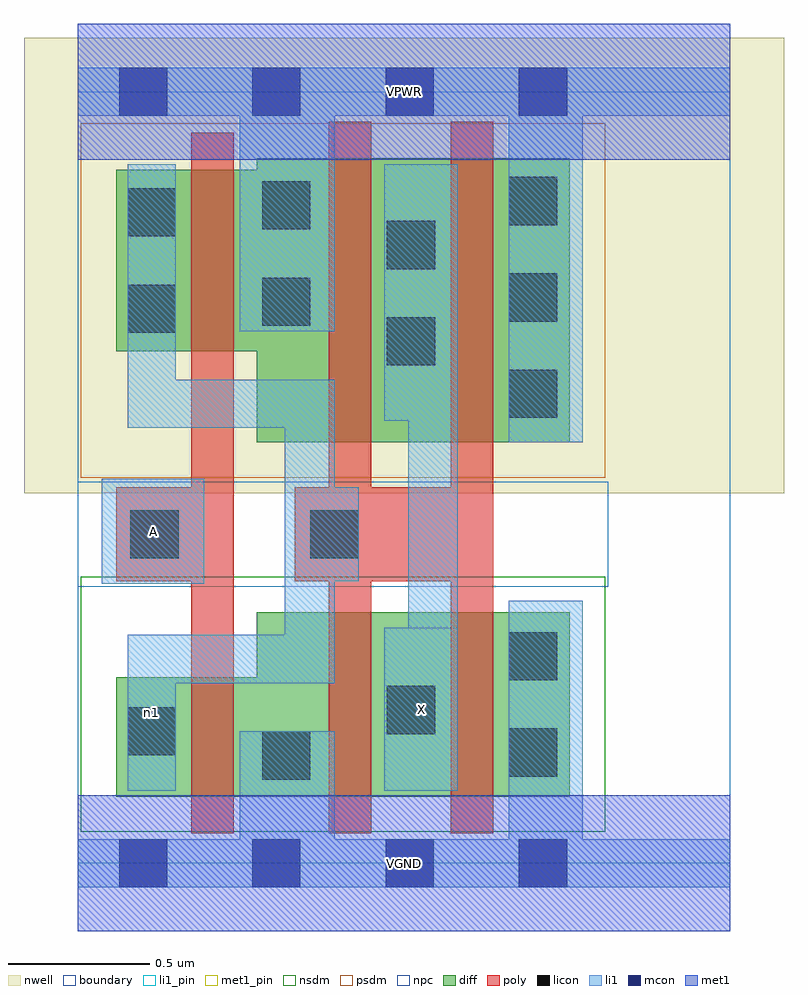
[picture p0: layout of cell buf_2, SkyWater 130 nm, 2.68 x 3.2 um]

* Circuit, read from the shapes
.subckt buf_2 A VGND VPWR X n1
XM1 VGND A n1 VSUBS sky130_fd_pr__nfet_01v8 w=0.42 l=0.15
XM2 X n1 VGND VSUBS sky130_fd_pr__nfet_01v8 w=0.65 l=0.15 m=2
XM3 VPWR A n1 n2 sky130_fd_pr__pfet_01v8 w=0.64 l=0.15
XM4 X n1 VPWR n2 sky130_fd_pr__pfet_01v8 w=1 l=0.15 m=2
.ends

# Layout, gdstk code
import gdstk
lib = gdstk.Library(unit=1e-6, precision=1e-09)
def R(c, l, rs):  # rectangles x0, y0, x1, y1
    for r in rs: c.add(gdstk.rectangle(r[:2], r[2:], *l))
def A(c, l, x, y, w, h, nx, ny, dx, dy):  # array of equal rectangles
    R(c, l, [(x+i*dx, y+j*dy, x+i*dx+w, y+j*dy+h) for i in range(nx) for j in range(ny)])
nwell = (64, 20)
diff = (65, 20)
poly = (66, 20)
licon = (66, 44)
li1_pin = (67, 16)
li1 = (67, 20)
mcon = (67, 44)
met1_pin = (68, 16)
met1 = (68, 20)
nsdm = (93, 44)
psdm = (94, 20)
npc = (95, 20)
boundary = (235, 4)

buf_2 = lib.new_cell('buf_2')
R(buf_2, nwell, [(-0.19,1.305,2.49,2.91), (0,1.305,2.3,2.91)])
R(buf_2, diff, [(0.135,0.235,1.735,0.655), (0.63,0.235,1.735,0.885), (0.63,1.485,1.735,2.485), (0.135,1.805,1.735,2.445)])
R(buf_2, poly, [(0.4,0.105,0.55,2.575), (0.885,0.105,1.035,2.615), (1.315,0.105,1.465,2.615), (0.135,0.995,0.55,1.325), (0.765,0.995,1.465,1.325)])
A(buf_2, licon, 1.52, 1.57, 0.17, 0.17, 1, 3, 0, 0.34)
R(buf_2, licon, [(0.65,0.295,0.82,0.465), (1.52,0.305,1.69,0.475), (0.175,0.38,0.345,0.55), (1.09,0.455,1.26,0.625), (1.52,0.645,1.69,0.815), (0.185,1.075,0.355,1.245), (0.82,1.075,0.99,1.245), (1.09,1.755,1.26,1.925), (0.175,1.87,0.345,2.04), (0.65,1.895,0.82,2.065), (1.09,2.095,1.26,2.265), (0.175,2.21,0.345,2.38), (0.65,2.235,0.82,2.405)])
R(buf_2, li1_pin, [(1.08,0.255,1.34,0.83), (0.085,0.985,0.445,1.355)])
R(buf_2, li1, [(0,-0.085,2.3,0.085), (0.57,-0.085,0.905,0.465), (1.52,-0.085,1.78,0.925), (0.175,0.255,0.345,0.805), (1.08,0.255,1.34,0.83), (1.165,0.255,1.34,2.465), (0.175,0.635,0.905,0.805), (0.73,0.635,0.905,1.705), (0.085,0.985,0.445,1.355), (0.73,0.995,0.99,1.325), (1.52,1.485,1.78,2.805), (0.175,1.535,0.905,1.705), (0.175,1.535,0.345,2.465), (1.08,1.56,1.34,2.465), (0.57,1.875,0.905,2.805), (0,2.635,2.3,2.805)])
A(buf_2, mcon, 0.145, -0.085, 0.17, 0.17, 4, 2, 0.47, 2.72)
R(buf_2, met1_pin, [(0,-0.24,2.3,0.24), (0,2.48,2.3,2.96)])
R(buf_2, met1, [(0,-0.24,2.3,0.24), (0,2.48,2.3,2.96)])
R(buf_2, nsdm, [(0.01,0.11,1.86,1.01)])
R(buf_2, psdm, [(0.01,1.36,1.86,2.61)])
R(buf_2, npc, [(0,0.975,1.87,1.345)])
R(buf_2, boundary, [(0,0,2.3,2.72)])
buf_2.add(gdstk.Label('A', (0.265,1.17), layer=67, texttype=5))
buf_2.add(gdstk.Label('X', (1.21,0.542), layer=67, texttype=5))
buf_2.add(gdstk.Label('n1', (0.26,0.53), layer=67, texttype=5))
buf_2.add(gdstk.Label('VPWR', (1.15,2.72), layer=68, texttype=5))
buf_2.add(gdstk.Label('VGND', (1.15,0), layer=68, texttype=5))
buf_2.add(gdstk.Label('A', (0.265,1.17), layer=67, texttype=16))
buf_2.add(gdstk.Label('X', (1.21,0.542), layer=67, texttype=16))
buf_2.add(gdstk.Label('VPWR', (1.15,2.72), layer=68, texttype=16))
buf_2.add(gdstk.Label('VGND', (1.15,0), layer=68, texttype=16))

lib.write_gds('buf_2.gds')
